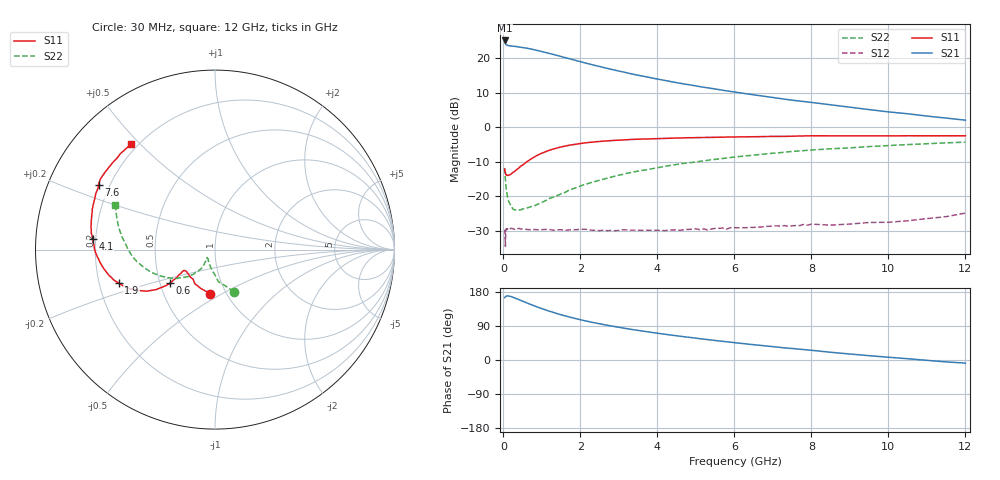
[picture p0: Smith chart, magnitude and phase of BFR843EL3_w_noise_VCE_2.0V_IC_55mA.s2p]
! Infineon Technologies  Discrete & RF Semiconductors
! BFR843EL3
! VCE =  2.0 V,  IC =  55 mA
! Common Emitter S-Parameters:  Aug 2013
# GHz  S  MA  R  50
!  f  S11  S21  S12  S22
! GHz  MAG  ANG  MAG  ANG  MAG  ANG  MAG  ANG
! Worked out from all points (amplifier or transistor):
!   103 points, 30 MHz to 12 GHz, reference 50 ohm
!   highest |S21| = 25.1 dB at 30 MHz (marker M1)
!   |S21| within 3 dB of that: start of sweep to 917.2 MHz
!   unconditionally stable (mu >= 1): start of sweep to end of sweep
!   at 400 MHz: K = 1.18, MAG = 23.7 dB, |S12| = -29.3 dB
!   at 3.7 GHz: K = 1.46, MAG = 18.2 dB, |S12| = -29.8 dB
!   at 12 GHz: K = 2.13, MAG = 7.4 dB, |S12| = -24.9 dB
!   lowest NFmin = 1.94 dB at 450 MHz
!   S11 on the Smith chart (normalised r, x): 30 MHz: 0.84, -0.44; 600 MHz: 0.56, -0.23; 1.9 GHz: 0.28, -0.16; 4.1 GHz: 0.19, +0.04; 7.6 GHz: 0.16, +0.25; 12 GHz: 0.18, +0.47
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0.03  0.2468 -96.0  17.93 164.7  0.0309 34.3  0.2571 -65.7
0.04  0.2307 -109.9  16.92 165.7  0.0324 23.7  0.2084 -74.5
0.05  0.2204 -120.8  16.47 166.4  0.019 10.6  0.1791 -84.0
0.06  0.2055 -126.4  15.85 167.7  0.032 25.6  0.1523 -87.9
0.09  0.2012 -138.1  15.35 169.0  0.0338 11.3  0.1097 -100.0
0.15  0.203 -144.8  15.03 168.7  0.0338 4.4  0.0818 -114.5
0.35  0.2446 -145.1  14.58 161.5  0.0339 3.6  0.0638 -132.3
0.6  0.314 -143.2  13.88 150.9  0.0332 2.3  0.0673 -132.6
0.9  0.397 -145.8  12.76 139.1  0.0328 4.5  0.0772 -130.9
1.2  0.4646 -150.3  11.61 128.6  0.0331 4.5  0.0933 -128.0
1.6  0.5316 -156.4  10.13 116.5  0.0321 5.0  0.1137 -125.4
1.9  0.5686 -160.9  9.145 108.7  0.0329 5.8  0.1338 -126.1
2.1  0.5904 -163.5  8.548 103.9  0.0334 6.8  0.1471 -127.8
2.6  0.6276 -170.1  7.292 93.5  0.0324 8.2  0.177 -130.7
3  0.6483 -174.7  6.466 86.3  0.0321 9.2  0.2018 -133.9
4.1  0.6848 175.1  4.841 69.3  0.0322 15.1  0.2649 -142.7
5.1  0.7071 167.1  3.858 56.3  0.0329 21.0  0.32 -151.6
6.1  0.7228 160.2  3.163 44.7  0.035 24.2  0.3747 -160.2
7.6  0.7419 151.0  2.417 29.4  0.0378 30.0  0.4485 -173.0
8.5  0.749 144.9  2.105 20.4  0.0383 28.8  0.4861 179.4
10.5  0.7506 134.8  1.562 3.4  0.0443 38.9  0.5597 165.1
12  0.7493 128.6  1.262 -8.2  0.0571 44.6  0.607 156.1
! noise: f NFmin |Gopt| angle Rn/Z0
0.45  1.94  0.32  -179  0.13
0.9  1.97  0.36  188  0.12
1.5  2.03  0.38  190  0.12
1.9  2.08  0.38  190  0.11
2.4  2.15  0.42  196  0.1
3.5  2.32  0.45  200  0.12
5.5  2.64  0.52  210  0.16
8  3.02  0.62  222  0.28
10  3.31  0.63  237  0.63
